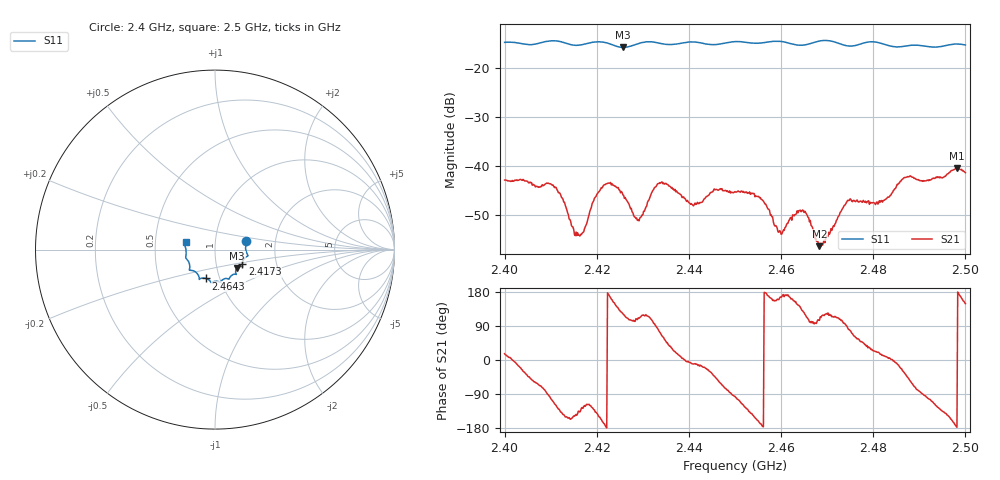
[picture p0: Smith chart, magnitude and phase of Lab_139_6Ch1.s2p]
# Hz S RI R 50
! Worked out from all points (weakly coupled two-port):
!   601 points, 2.4 GHz to 2.5 GHz, reference 50 ohm
!   highest |S21| = -40.48 dB at 2.4982 GHz (marker M1); lowest = -56.3 dB at 2.4683 GHz (marker M2)
!   lowest |S11| = -15.9 dB at 2.4257 GHz (marker M3), VSWR 1.38, Z = 62.5 - j13.1 ohm
!   |S11| at or under -10 dB: start of sweep to end of sweep
!   S12 and S22 are empty: the file has one direction only
!   S11 on the Smith chart (normalised r, x): 2.4 GHz: 1.41, +0.14; 2.4173 GHz: 1.34, -0.23; 2.4643 GHz: 0.86, -0.29; 2.5 GHz: 0.72, +0.06
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2.4e9  0.1731 0.0494  0.00691 0.00206  0 0  0 0
2.410667e9  0.1835 -0.0344  -0.00231 -0.00579  0 0  0 0
2.415167e9  0.1581 -0.0575  -0.00171 -0.00106  0 0  0 0
2.416667e9  0.1528 -0.0745  -0.00122 -0.00161  0 0  0 0
2.417333e9  0.1521 -0.082  -0.00117 -0.002  0 0  0 0
2.4215e9  0.1531 -0.0954  -0.00624 -0.00144  0 0  0 0
2.425667e9  0.1227 -0.1023  -0.00267 0.00434  0 0  0 0
2.429e9  0.1158 -0.1314  -0.00102 0.00265  0 0  0 0
2.433333e9  0.1128 -0.1369  0.00107 0.00655  0 0  0 0
2.440667e9  0.0785 -0.1643  0.00402 -0.000691  0 0  0 0
2.445667e9  0.0506 -0.1633  0.00409 -0.00403  0 0  0 0
2.45e9  0.0294 -0.1809  -0.000573 -0.00548  0 0  0 0
2.4555e9  -0.00274 -0.1772  -0.00469 -0.000979  0 0  0 0
2.459833e9  -0.0233 -0.1827  -0.00212 0.000517  0 0  0 0
2.464333e9  -0.0499 -0.1608  -0.00245 0.00242  0 0  0 0
2.466667e9  -0.0759 -0.1598  -0.000498 0.0024  0 0  0 0
2.468333e9  -0.086 -0.1648  -0.000386 0.00149  0 0  0 0
2.474667e9  -0.103 -0.1293  0.000754 0.0044  0 0  0 0
2.483333e9  -0.1407 -0.09  0.00482 0.000362  0 0  0 0
2.487e9  -0.1555 -0.0563  0.00607 -0.00465  0 0  0 0
2.498167e9  -0.1703 0.0319  -0.00945 -0.000397  0 0  0 0
2.5e9  -0.1639 0.0421  -0.00731 0.00447  0 0  0 0
